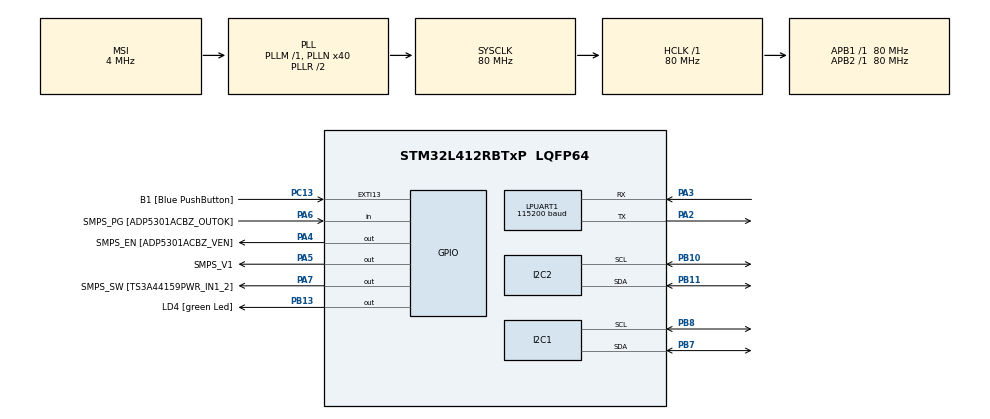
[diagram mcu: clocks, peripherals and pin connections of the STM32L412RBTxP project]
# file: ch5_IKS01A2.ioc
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I2C1.Timing=0x10D19CE4
I2C2.Timing=0x10D19CE4
LPUART1.BaudRate=115200
LPUART1.WordLength=UART_WORDLENGTH_8B
Mcu.Family=STM32L4
Mcu.Name=STM32L412RBTxP
Mcu.Package=LQFP64
NVIC.PriorityGroup=NVIC_PRIORITYGROUP_4
PA13\ (JTMS/SWDIO).GPIO_Label=TMS
PA13\ (JTMS/SWDIO).Mode=Serial_Wire
PA13\ (JTMS/SWDIO).Signal=SYS_JTMS-SWDIO
PA14\ (JTCK/SWCLK).GPIO_Label=TCK
PA14\ (JTCK/SWCLK).Mode=Serial_Wire
PA14\ (JTCK/SWCLK).Signal=SYS_JTCK-SWCLK
PA2.Mode=Asynchronous
PA2.Signal=LPUART1_TX
PA3.Mode=Asynchronous
PA3.Signal=LPUART1_RX
PA4.GPIO_Label=SMPS_EN [ADP5301ACBZ_VEN]
PA4.Signal=GPIO_Output
PA5.GPIO_Label=SMPS_V1
PA5.GPIO_ModeDefaultOutputPP=GPIO_MODE_OUTPUT_PP
PA5.GPIO_PuPd=GPIO_NOPULL
PA5.GPIO_Speed=GPIO_SPEED_FREQ_LOW
PA5.Signal=GPIO_Output
PA6.GPIO_Label=SMPS_PG [ADP5301ACBZ_OUTOK]
PA6.GPIO_PuPd=GPIO_PULLUP
PA6.Signal=GPIO_Input
PA7.GPIO_Label=SMPS_SW [TS3A44159PWR_IN1_2]
PA7.Signal=GPIO_Output
PB10.GPIO_Mode=GPIO_MODE_AF_OD
PB10.GPIO_Pu=GPIO_PULLUP
PB10.GPIO_Speed=GPIO_SPEED_FREQ_LOW
PB10.Mode=I2C
PB10.Signal=I2C2_SCL
PB11.GPIO_Mode=GPIO_MODE_AF_OD
PB11.GPIO_Pu=GPIO_PULLUP
PB11.GPIO_Speed=GPIO_SPEED_FREQ_LOW
PB11.Mode=I2C
PB11.Signal=I2C2_SDA
PB13.GPIO_Label=LD4 [green Led]
PB13.Signal=GPIO_Output
PB3\ (JTDO/TRACESWO).GPIO_Label=SWO
PB3\ (JTDO/TRACESWO).Signal=SYS_JTDO-SWO
PB7.GPIO_FM7=__NULL
PB7.GPIO_Pu=GPIO_PULLUP
PB7.GPIO_Speed=GPIO_SPEED_FREQ_LOW
PB7.Mode=I2C
PB7.Signal=I2C1_SDA
PB8.GPIO_FM7=__NULL
PB8.GPIO_Pu=GPIO_PULLUP
PB8.GPIO_Speed=GPIO_SPEED_FREQ_LOW
PB8.Mode=I2C
PB8.Signal=I2C1_SCL
PC13.GPIO_Label=B1 [Blue PushButton]
PC13.GPIO_ModeDefaultEXTI=GPIO_MODE_IT_FALLING
PC13.GPIO_PuPd=GPIO_NOPULL
PC13.Signal=GPXTI13
PC14-OSC32_IN\ (PC14).Mode=LSE-External-Oscillator
PC14-OSC32_IN\ (PC14).Signal=RCC_OSC32_IN
PC15-OSC32_OUT\ (PC15).Mode=LSE-External-Oscillator
PC15-OSC32_OUT\ (PC15).Signal=RCC_OSC32_OUT
PH0-OSC_IN\ (PH0).GPIO_Label=MCO
PH0-OSC_IN\ (PH0).Mode=HSE-External-Clock-Source
PH0-OSC_IN\ (PH0).Signal=RCC_OSC_IN
PH1-OSC_OUT\ (PH1).Signal=RCC_OSC_OUT
ProjectManager.HeapSize=0x200
ProjectManager.StackSize=0x400
ProjectManager.TargetToolchain=STM32CubeIDE
RCC.ADCFreq_Value=80000000
RCC.AHBFreq_Value=80000000
RCC.APB1Freq_Value=80000000
RCC.APB1TimFreq_Value=80000000
RCC.APB2Freq_Value=80000000
RCC.APB2TimFreq_Value=80000000
RCC.CortexFreq_Value=80000000
RCC.FLatency=FLASH_LATENCY_4
RCC.HCLKFreq_Value=80000000
RCC.HSE_VALUE=8000000
RCC.HSI48_VALUE=48000000
RCC.HSICalibrationValue=64
RCC.HSI_VALUE=16000000
RCC.MSIAutoCalibration=DISABLED
RCC.MSI_VALUE=4000000
RCC.PLLN=40
RCC.PREFETCH_ENABLE=1
RCC.SYSCLKFreq_VALUE=80000000
RCC.SYSCLKSource=RCC_SYSCLKSOURCE_PLLCLK
RCC.USBFreq_Value=4000000
RCC.VCOOutputFreq_Value=160000000
board=NUCLEO-L412RB-P

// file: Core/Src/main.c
/* USER CODE BEGIN Header */
/**
  ******************************************************************************
  * @file           : main.c
  * @brief          : Main program body
  ******************************************************************************
  * @attention
  *
  * Copyright (c) 2026 STMicroelectronics.
  * All rights reserved.
  *
  * This software is licensed under terms that can be found in the LICENSE file
  * in the root directory of this software component.
  * If no LICENSE file comes with this software, it is provided AS-IS.
  *
  ******************************************************************************
  */
/* USER CODE END Header */
#include "main.h"
#include "HTS221.h"

I2C_HandleTypeDef hi2c1;
I2C_HandleTypeDef hi2c2;

UART_HandleTypeDef hlpuart1;

/* USER CODE BEGIN PV */
// UART로 출력 보내기 위한 함수
int _write(int file, char *ptr, int len) {

  //(void)file;
  HAL_UART_Transmit(&hlpuart1, (uint8_t *)ptr, len, HAL_MAX_DELAY);
  return len;

}

/* USER CODE END PV */

void SystemClock_Config(void);
static void MX_GPIO_Init(void);
static void MX_I2C1_Init(void);
static void MX_LPUART1_UART_Init(void);
static void MX_I2C2_Init(void);
/* USER CODE BEGIN PFP */
float gradient_humid_r;
float H0_rH_OUT_r;
/* USER CODE END PFP */

int main(void)
{

  /* MCU Configuration--------------------------------------------------------*/

  /* Reset of all peripherals, Initializes the Flash interface and the Systick. */
  HAL_Init();

  /* USER CODE BEGIN Init */

  _humid humid_data;
  _temperature temperature_data;
  _cur current_data;
  /* USER CODE END Init */

  /* Configure the system clock */
  SystemClock_Config();

  /* Initialize all configured peripherals */
  MX_GPIO_Init();
  MX_I2C1_Init();
  MX_LPUART1_UART_Init();
  MX_I2C2_Init();
  /* USER CODE BEGIN 2 */

  printf("LPUART printf test \r\n");

  printf("int   : %d\r\n", 123);
  printf("uint  : %u\r\n", 123U);
  printf("hex   : 0x%04X\r\n", (uint16_t)0xCF04);
  printf("float : %.2f\r\n", 12.34f);

  cal_humid_gradient(&humid_data);

  printf("gradient_humid: %.3f \r\n ",humid_data.gradient_humid);
  printf("H0_rH_OUT : %.2f \r\n ",humid_data.init_humid);

  cal_temperature_gradient(&temperature_data);
  printf("gradient_temperature : %.3f \r\n ",temperature_data.gradient_temperature);
  printf("init_temperature : %.2f \r\n ",temperature_data.init_temperature);

  write_is_sensor_enable();
  // init_HTS221();
  /* USER CODE END 2 */

  /* Infinite loop */
  while (1)
  {

    /* USER CODE BEGIN 3 */

    // read_is_sensor_enable();
    HAL_Delay(1000);
    printf("/r/n");

    read_is_sensor_enable();
    // read_humid_HTS221();
    // read_temperature_HTS221();

    // print_all_reg();
    // read_is_sensor_enable();

    result_humid(&humid_data, &current_data);
    result_temperature(&temperature_data,&current_data);

  }
  /* USER CODE END 3 */
}

void SystemClock_Config(void)
{
  RCC_OscInitTypeDef RCC_OscInitStruct = {0};
  RCC_ClkInitTypeDef RCC_ClkInitStruct = {0};

  /** Configure the main internal regulator output voltage
  */
  if (HAL_PWREx_ControlVoltageScaling(PWR_REGULATOR_VOLTAGE_SCALE1) != HAL_OK)
  {
    Error_Handler();
  }

  /** Initializes the RCC Oscillators according to the specified parameters
  * in the RCC_OscInitTypeDef structure.
  */
  RCC_OscInitStruct.OscillatorType = RCC_OSCILLATORTYPE_MSI;
  RCC_OscInitStruct.MSIState = RCC_MSI_ON;
  RCC_OscInitStruct.MSICalibrationValue = 0;
  RCC_OscInitStruct.MSIClockRange = RCC_MSIRANGE_6;
  RCC_OscInitStruct.PLL.PLLState = RCC_PLL_ON;
  RCC_OscInitStruct.PLL.PLLSource = RCC_PLLSOURCE_MSI;
  RCC_OscInitStruct.PLL.PLLM = 1;
  RCC_OscInitStruct.PLL.PLLN = 40;
  RCC_OscInitStruct.PLL.PLLQ = RCC_PLLQ_DIV2;
  RCC_OscInitStruct.PLL.PLLR = RCC_PLLR_DIV2;
  if (HAL_RCC_OscConfig(&RCC_OscInitStruct) != HAL_OK)
  {
    Error_Handler();
  }

  /** Initializes the CPU, AHB and APB buses clocks
  */
  RCC_ClkInitStruct.ClockType = RCC_CLOCKTYPE_HCLK|RCC_CLOCKTYPE_SYSCLK
                              |RCC_CLOCKTYPE_PCLK1|RCC_CLOCKTYPE_PCLK2;
  RCC_ClkInitStruct.SYSCLKSource = RCC_SYSCLKSOURCE_PLLCLK;
  RCC_ClkInitStruct.AHBCLKDivider = RCC_SYSCLK_DIV1;
  RCC_ClkInitStruct.APB1CLKDivider = RCC_HCLK_DIV1;
  RCC_ClkInitStruct.APB2CLKDivider = RCC_HCLK_DIV1;

  if (HAL_RCC_ClockConfig(&RCC_ClkInitStruct, FLASH_LATENCY_4) != HAL_OK)
  {
    Error_Handler();
  }
}

static void MX_I2C1_Init(void)
{

  hi2c1.Instance = I2C1;
  hi2c1.Init.Timing = 0x10D19CE4;
  hi2c1.Init.OwnAddress1 = 0;
  hi2c1.Init.AddressingMode = I2C_ADDRESSINGMODE_7BIT;
  hi2c1.Init.DualAddressMode = I2C_DUALADDRESS_DISABLE;
  hi2c1.Init.OwnAddress2 = 0;
  hi2c1.Init.OwnAddress2Masks = I2C_OA2_NOMASK;
  hi2c1.Init.GeneralCallMode = I2C_GENERALCALL_DISABLE;
  hi2c1.Init.NoStretchMode = I2C_NOSTRETCH_DISABLE;
  if (HAL_I2C_Init(&hi2c1) != HAL_OK)
  {
    Error_Handler();
  }

  /** Configure Analogue filter
  */
  if (HAL_I2CEx_ConfigAnalogFilter(&hi2c1, I2C_ANALOGFILTER_ENABLE) != HAL_OK)
  {
    Error_Handler();
  }

  /** Configure Digital filter
  */
  if (HAL_I2CEx_ConfigDigitalFilter(&hi2c1, 0) != HAL_OK)
  {
    Error_Handler();
  }

}

static void MX_I2C2_Init(void)
{

  hi2c2.Instance = I2C2;
  hi2c2.Init.Timing = 0x10D19CE4;
  hi2c2.Init.OwnAddress1 = 0;
  hi2c2.Init.AddressingMode = I2C_ADDRESSINGMODE_7BIT;
  hi2c2.Init.DualAddressMode = I2C_DUALADDRESS_DISABLE;
  hi2c2.Init.OwnAddress2 = 0;
  hi2c2.Init.OwnAddress2Masks = I2C_OA2_NOMASK;
  hi2c2.Init.GeneralCallMode = I2C_GENERALCALL_DISABLE;
  hi2c2.Init.NoStretchMode = I2C_NOSTRETCH_DISABLE;
  if (HAL_I2C_Init(&hi2c2) != HAL_OK)
  {
    Error_Handler();
  }

  /** Configure Analogue filter
  */
  if (HAL_I2CEx_ConfigAnalogFilter(&hi2c2, I2C_ANALOGFILTER_ENABLE) != HAL_OK)
  {
    Error_Handler();
  }

  /** Configure Digital filter
  */
  if (HAL_I2CEx_ConfigDigitalFilter(&hi2c2, 0) != HAL_OK)
  {
    Error_Handler();
  }

}

static void MX_LPUART1_UART_Init(void)
{

  hlpuart1.Instance = LPUART1;
  hlpuart1.Init.BaudRate = 115200;
  hlpuart1.Init.WordLength = UART_WORDLENGTH_8B;
  hlpuart1.Init.StopBits = UART_STOPBITS_1;
  hlpuart1.Init.Parity = UART_PARITY_NONE;
  hlpuart1.Init.Mode = UART_MODE_TX_RX;
  hlpuart1.Init.HwFlowCtl = UART_HWCONTROL_NONE;
  hlpuart1.Init.OneBitSampling = UART_ONE_BIT_SAMPLE_DISABLE;
  hlpuart1.AdvancedInit.AdvFeatureInit = UART_ADVFEATURE_NO_INIT;
  if (HAL_UART_Init(&hlpuart1) != HAL_OK)
  {
    Error_Handler();
  }

}

static void MX_GPIO_Init(void)
{
  GPIO_InitTypeDef GPIO_InitStruct = {0};

  /* GPIO Ports Clock Enable */
  __HAL_RCC_GPIOC_CLK_ENABLE();
  __HAL_RCC_GPIOH_CLK_ENABLE();
  __HAL_RCC_GPIOA_CLK_ENABLE();
  __HAL_RCC_GPIOB_CLK_ENABLE();

  /*Configure GPIO pin Output Level */
  HAL_GPIO_WritePin(GPIOA, SMPS_EN_Pin|SMPS_V1_Pin|SMPS_SW_Pin, GPIO_PIN_RESET);

  /*Configure GPIO pin Output Level */
  HAL_GPIO_WritePin(LD4_GPIO_Port, LD4_Pin, GPIO_PIN_RESET);

  /*Configure GPIO pin : B1_Pin */
  GPIO_InitStruct.Pin = B1_Pin;
  GPIO_InitStruct.Mode = GPIO_MODE_IT_FALLING;
  GPIO_InitStruct.Pull = GPIO_NOPULL;
  HAL_GPIO_Init(B1_GPIO_Port, &GPIO_InitStruct);

  /*Configure GPIO pins : SMPS_EN_Pin SMPS_V1_Pin SMPS_SW_Pin */
  GPIO_InitStruct.Pin = SMPS_EN_Pin|SMPS_V1_Pin|SMPS_SW_Pin;
  GPIO_InitStruct.Mode = GPIO_MODE_OUTPUT_PP;
  GPIO_InitStruct.Pull = GPIO_NOPULL;
  GPIO_InitStruct.Speed = GPIO_SPEED_FREQ_LOW;
  HAL_GPIO_Init(GPIOA, &GPIO_InitStruct);

  /*Configure GPIO pin : SMPS_PG_Pin */
  GPIO_InitStruct.Pin = SMPS_PG_Pin;
  GPIO_InitStruct.Mode = GPIO_MODE_INPUT;
  GPIO_InitStruct.Pull = GPIO_PULLUP;
  HAL_GPIO_Init(SMPS_PG_GPIO_Port, &GPIO_InitStruct);

  /*Configure GPIO pin : LD4_Pin */
  GPIO_InitStruct.Pin = LD4_Pin;
  GPIO_InitStruct.Mode = GPIO_MODE_OUTPUT_PP;
  GPIO_InitStruct.Pull = GPIO_NOPULL;
  GPIO_InitStruct.Speed = GPIO_SPEED_FREQ_LOW;
  HAL_GPIO_Init(LD4_GPIO_Port, &GPIO_InitStruct);

}

void Error_Handler(void)
{
  __disable_irq();
  while (1)
  {
  }
}
